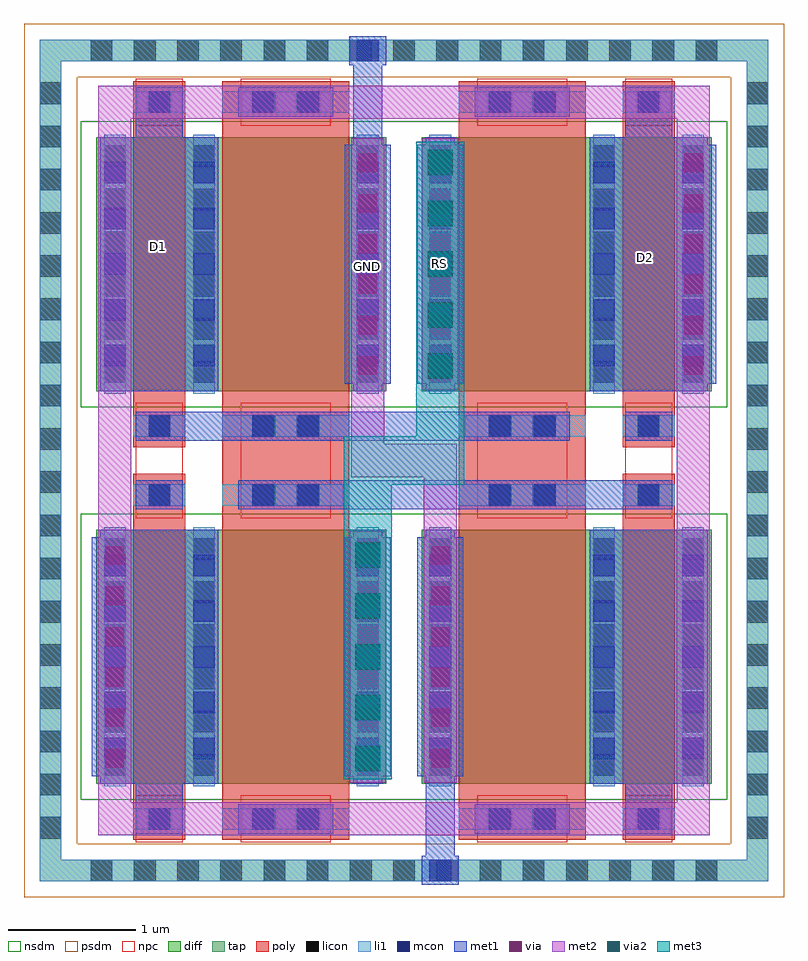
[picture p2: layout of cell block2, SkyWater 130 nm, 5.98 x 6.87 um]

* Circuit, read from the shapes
.subckt block2 D1 D2 GND RS
XM1 D2 D2 D2 GND sky130_fd_pr__nfet_01v8 w=2 l=0.41 m=2
XM2 D1 D1 D1 GND sky130_fd_pr__nfet_01v8 w=2 l=0.41 m=2
XM3 RS D1 D2 GND sky130_fd_pr__nfet_01v8 w=2 l=1 m=2
XM4 GND D1 D1 GND sky130_fd_pr__nfet_01v8 w=2 l=1 m=2
.ends

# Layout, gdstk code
import gdstk
lib = gdstk.Library(unit=1e-6, precision=1e-09)
def R(c, l, rs):  # rectangles x0, y0, x1, y1
    for r in rs: c.add(gdstk.rectangle(r[:2], r[2:], *l))
def A(c, l, x, y, w, h, nx, ny, dx, dy):  # array of equal rectangles
    R(c, l, [(x+i*dx, y+j*dy, x+i*dx+w, y+j*dy+h) for i in range(nx) for j in range(ny)])
diff = (65, 20)
tap = (65, 44)
poly = (66, 20)
licon = (66, 44)
li1 = (67, 20)
mcon = (67, 44)
met1 = (68, 20)
via = (68, 44)
met2 = (69, 20)
via2 = (69, 44)
met3 = (70, 20)
nsdm = (93, 44)
psdm = (94, 20)
npc = (95, 20)

sky130_fd_pr__nfet_01v8_ = lib.new_cell('sky130_fd_pr__nfet_01v8_MU6LND')
R(sky130_fd_pr__nfet_01v8_, diff, [(-0.495,-2.545,0.495,-0.545), (-0.495,0.545,0.495,2.545)])
R(sky130_fd_pr__nfet_01v8_, poly, [(-0.205,-2.985,0.205,-0.105), (-0.205,0.105,0.205,2.985)])
A(sky130_fd_pr__nfet_01v8_, licon, -0.435, -2.48, 0.17, 0.17, 1, 6, 0, 0.34)
A(sky130_fd_pr__nfet_01v8_, licon, 0.265, -2.48, 0.17, 0.17, 1, 6, 0, 0.34)
A(sky130_fd_pr__nfet_01v8_, licon, -0.435, 0.61, 0.17, 0.17, 1, 6, 0, 0.34)
A(sky130_fd_pr__nfet_01v8_, licon, 0.265, 0.61, 0.17, 0.17, 1, 6, 0, 0.34)
R(sky130_fd_pr__nfet_01v8_, licon, [(-0.085,-2.905,0.085,-2.735), (-0.085,-0.355,0.085,-0.185), (-0.085,0.185,0.085,0.355), (-0.085,2.735,0.085,2.905)])
R(sky130_fd_pr__nfet_01v8_, li1, [(-0.205,-2.905,0.205,-2.735), (-0.435,-2.565,-0.265,-0.525), (0.265,-2.565,0.435,-0.525), (-0.205,-0.355,0.205,-0.185), (-0.205,0.185,0.205,0.355), (-0.435,0.525,-0.265,2.565), (0.265,0.525,0.435,2.565), (-0.205,2.735,0.205,2.905)])
A(sky130_fd_pr__nfet_01v8_, mcon, -0.435, -2.35, 0.17, 0.17, 1, 5, 0, 0.36)
A(sky130_fd_pr__nfet_01v8_, mcon, 0.265, -2.35, 0.17, 0.17, 1, 5, 0, 0.36)
A(sky130_fd_pr__nfet_01v8_, mcon, -0.435, 0.74, 0.17, 0.17, 1, 5, 0, 0.36)
A(sky130_fd_pr__nfet_01v8_, mcon, 0.265, 0.74, 0.17, 0.17, 1, 5, 0, 0.36)
R(sky130_fd_pr__nfet_01v8_, mcon, [(-0.085,-2.905,0.085,-2.735), (-0.085,-0.355,0.085,-0.185), (-0.085,0.185,0.085,0.355), (-0.085,2.735,0.085,2.905)])
R(sky130_fd_pr__nfet_01v8_, met1, [(-0.185,-2.935,0.185,-2.705), (-0.465,-2.545,-0.235,-0.545), (0.235,-2.545,0.465,-0.545), (-0.185,-0.385,0.185,-0.155), (-0.185,0.155,0.185,0.385), (-0.465,0.545,-0.235,2.545), (0.235,0.545,0.465,2.545), (-0.185,2.705,0.185,2.935)])
R(sky130_fd_pr__nfet_01v8_, nsdm, [(-0.62,-2.67,0.62,-0.42), (-0.62,0.42,0.62,2.67)])
R(sky130_fd_pr__nfet_01v8_, npc, [(-0.185,-3.005,0.185,-2.635), (-0.185,-0.455,0.185,0.455), (-0.185,2.635,0.185,3.005)])

c_sky130_fd_pr__nfet_01v8_ = lib.new_cell('sky130_fd_pr__nfet_01v8_46AL6M')
R(c_sky130_fd_pr__nfet_01v8_, diff, [(-1.72,-2.545,-0.14,-0.545), (0.14,-2.545,1.72,-0.545), (-1.72,0.545,-0.14,2.545), (0.14,0.545,1.72,2.545)])
R(c_sky130_fd_pr__nfet_01v8_, poly, [(-1.43,-2.985,-0.43,-0.105), (0.43,-2.985,1.43,-0.105), (-1.43,0.105,-0.43,2.985), (0.43,0.105,1.43,2.985)])
A(c_sky130_fd_pr__nfet_01v8_, licon, -1.66, -2.48, 0.17, 0.17, 1, 6, 0, 0.34)
A(c_sky130_fd_pr__nfet_01v8_, licon, -0.37, -2.48, 0.17, 0.17, 1, 6, 0, 0.34)
A(c_sky130_fd_pr__nfet_01v8_, licon, 0.2, -2.48, 0.17, 0.17, 1, 6, 0, 0.34)
A(c_sky130_fd_pr__nfet_01v8_, licon, 1.49, -2.48, 0.17, 0.17, 1, 6, 0, 0.34)
A(c_sky130_fd_pr__nfet_01v8_, licon, -1.66, 0.61, 0.17, 0.17, 1, 6, 0, 0.34)
A(c_sky130_fd_pr__nfet_01v8_, licon, -0.37, 0.61, 0.17, 0.17, 1, 6, 0, 0.34)
A(c_sky130_fd_pr__nfet_01v8_, licon, 0.2, 0.61, 0.17, 0.17, 1, 6, 0, 0.34)
A(c_sky130_fd_pr__nfet_01v8_, licon, 1.49, 0.61, 0.17, 0.17, 1, 6, 0, 0.34)
R(c_sky130_fd_pr__nfet_01v8_, licon, [(-1.185,-2.905,-1.015,-2.735), (-0.845,-2.905,-0.675,-2.735), (0.675,-2.905,0.845,-2.735), (1.015,-2.905,1.185,-2.735), (-1.185,-0.355,-1.015,-0.185), (-0.845,-0.355,-0.675,-0.185), (0.675,-0.355,0.845,-0.185), (1.015,-0.355,1.185,-0.185), (-1.185,0.185,-1.015,0.355), (-0.845,0.185,-0.675,0.355), (0.675,0.185,0.845,0.355), (1.015,0.185,1.185,0.355), (-1.185,2.735,-1.015,2.905), (-0.845,2.735,-0.675,2.905), (0.675,2.735,0.845,2.905), (1.015,2.735,1.185,2.905)])
R(c_sky130_fd_pr__nfet_01v8_, li1, [(-1.43,-2.905,-0.43,-2.735), (0.43,-2.905,1.43,-2.735), (-1.66,-2.565,-1.49,-0.525), (-0.37,-2.565,-0.2,-0.525), (0.2,-2.565,0.37,-0.525), (1.49,-2.565,1.66,-0.525), (-1.43,-0.355,-0.43,-0.185), (0.43,-0.355,1.43,-0.185), (-1.43,0.185,-0.43,0.355), (0.43,0.185,1.43,0.355), (-1.66,0.525,-1.49,2.565), (-0.37,0.525,-0.2,2.565), (0.2,0.525,0.37,2.565), (1.49,0.525,1.66,2.565), (-1.43,2.735,-0.43,2.905), (0.43,2.735,1.43,2.905)])
A(c_sky130_fd_pr__nfet_01v8_, mcon, -1.66, -2.35, 0.17, 0.17, 1, 5, 0, 0.36)
A(c_sky130_fd_pr__nfet_01v8_, mcon, -0.37, -2.35, 0.17, 0.17, 1, 5, 0, 0.36)
A(c_sky130_fd_pr__nfet_01v8_, mcon, 0.2, -2.35, 0.17, 0.17, 1, 5, 0, 0.36)
A(c_sky130_fd_pr__nfet_01v8_, mcon, 1.49, -2.35, 0.17, 0.17, 1, 5, 0, 0.36)
A(c_sky130_fd_pr__nfet_01v8_, mcon, -1.66, 0.74, 0.17, 0.17, 1, 5, 0, 0.36)
A(c_sky130_fd_pr__nfet_01v8_, mcon, -0.37, 0.74, 0.17, 0.17, 1, 5, 0, 0.36)
A(c_sky130_fd_pr__nfet_01v8_, mcon, 0.2, 0.74, 0.17, 0.17, 1, 5, 0, 0.36)
A(c_sky130_fd_pr__nfet_01v8_, mcon, 1.49, 0.74, 0.17, 0.17, 1, 5, 0, 0.36)
R(c_sky130_fd_pr__nfet_01v8_, mcon, [(-1.195,-2.905,-1.025,-2.735), (-0.835,-2.905,-0.665,-2.735), (0.665,-2.905,0.835,-2.735), (1.025,-2.905,1.195,-2.735), (-1.195,-0.355,-1.025,-0.185), (-0.835,-0.355,-0.665,-0.185), (0.665,-0.355,0.835,-0.185), (1.025,-0.355,1.195,-0.185), (-1.195,0.185,-1.025,0.355), (-0.835,0.185,-0.665,0.355), (0.665,0.185,0.835,0.355), (1.025,0.185,1.195,0.355), (-1.195,2.735,-1.025,2.905), (-0.835,2.735,-0.665,2.905), (0.665,2.735,0.835,2.905), (1.025,2.735,1.195,2.905)])
R(c_sky130_fd_pr__nfet_01v8_, met1, [(-1.305,-2.935,-0.555,-2.705), (0.555,-2.935,1.305,-2.705), (-1.69,-2.545,-1.46,-0.545), (-0.4,-2.545,-0.17,-0.545), (0.17,-2.545,0.4,-0.545), (1.46,-2.545,1.69,-0.545), (-1.305,-0.385,-0.555,-0.155), (0.555,-0.385,1.305,-0.155), (-1.305,0.155,-0.555,0.385), (0.555,0.155,1.305,0.385), (-1.69,0.545,-1.46,2.545), (-0.4,0.545,-0.17,2.545), (0.17,0.545,0.4,2.545), (1.46,0.545,1.69,2.545), (-1.305,2.705,-0.555,2.935), (0.555,2.705,1.305,2.935)])
R(c_sky130_fd_pr__nfet_01v8_, nsdm, [(-1.845,-2.67,1.845,-0.42), (-1.845,0.42,1.845,2.67)])
R(c_sky130_fd_pr__nfet_01v8_, npc, [(-1.285,-3.005,-0.575,-2.635), (0.575,-3.005,1.285,-2.635), (-1.285,-0.455,-0.575,0.455), (0.575,-0.455,1.285,0.455), (-1.285,2.635,-0.575,3.005), (0.575,2.635,1.285,3.005)])

block2 = lib.new_cell('block2')
R(block2, tap, [(-1.145,-0.325,4.585,-0.155), (-1.145,-0.155,-0.975,6.125), (4.415,-0.155,4.585,6.125), (-1.145,6.125,4.585,6.295)])
R(block2, poly, [(0.29,0,1.29,5.97), (2.15,0,3.15,5.97)])
A(block2, licon, -0.745, -0.325, 0.17, 0.17, 15, 2, 0.34, 6.45)
A(block2, licon, -1.145, 0.01, 0.17, 0.17, 1, 18, 0, 0.34)
A(block2, licon, 4.415, 0.01, 0.17, 0.17, 1, 18, 0, 0.34)
R(block2, li1, [(-1.145,-0.325,4.585,-0.155), (-1.145,-0.155,-0.975,6.125), (4.415,-0.155,4.585,6.125), (-1.145,6.125,4.585,6.295)])
R(block2, mcon, [(1.92,-0.325,2.09,-0.155), (1.35,6.125,1.52,6.295)])
R(block2, met1, [(1.86,-0.355,2.15,-0.125), (1.89,-0.125,2.12,0.44), (-0.39,0.05,-0.02,0.44), (3.46,0.05,3.83,0.44), (-0.67,0.44,0.26,0.5), (3.18,0.44,4.11,2.44), (-0.735,0.5,0.26,2.38), (1.255,0.5,1.615,2.38), (1.825,0.5,2.185,2.38), (-0.67,2.38,0.26,2.44), (0.415,2.6,3.83,2.83), (-0.39,3.14,3.025,3.37), (-0.67,3.53,0.26,5.53), (3.18,3.53,4.11,3.59), (1.255,3.59,1.615,5.47), (1.825,3.59,2.185,5.47), (3.18,3.59,4.175,5.47), (3.18,5.47,4.11,5.53), (-0.39,5.53,-0.02,5.92), (1.32,5.53,1.55,6.095), (3.46,5.53,3.83,5.92), (1.29,6.095,1.58,6.325)])
A(block2, via, -0.63, 0.565, 0.15, 0.15, 1, 6, 0, 0.32)
A(block2, via, 1.36, 0.565, 0.15, 0.15, 1, 6, 0, 0.32)
A(block2, via, 1.93, 0.565, 0.15, 0.15, 1, 6, 0, 0.32)
A(block2, via, 1.36, 3.655, 0.15, 0.15, 1, 6, 0, 0.32)
A(block2, via, 1.93, 3.655, 0.15, 0.15, 1, 6, 0, 0.32)
A(block2, via, 3.92, 3.655, 0.15, 0.15, 1, 6, 0, 0.32)
R(block2, met2, [(-0.685,0.035,4.125,0.295), (-0.685,0.295,-0.425,5.675), (3.865,0.295,4.125,5.675), (1.295,0.45,1.575,2.43), (1.875,0.45,2.135,2.855), (1.305,2.855,2.135,3.115), (1.305,3.115,1.565,5.52), (1.865,3.54,2.145,5.52), (-0.685,5.675,4.125,5.935)])
A(block2, via2, 1.335, 0.54, 0.2, 0.2, 1, 5, 0, 0.4)
A(block2, via2, 1.905, 3.63, 0.2, 0.2, 1, 5, 0, 0.4)
R(block2, met3, [(1.245,0.475,1.625,2.795), (1.245,2.795,2.195,3.175), (1.815,3.175,2.195,5.495)])
R(block2, psdm, [(-1.27,-0.45,4.71,-0.03), (-1.27,-0.03,-0.85,6), (4.29,-0.03,4.71,6), (-1.27,6,4.71,6.42)])
block2.add(gdstk.Reference(sky130_fd_pr__nfet_01v8_, (3.645,2.985)))
block2.add(gdstk.Reference(sky130_fd_pr__nfet_01v8_, (-0.205,2.985)))
block2.add(gdstk.Reference(c_sky130_fd_pr__nfet_01v8_, (1.72,2.985)))
block2.add(gdstk.Label('GND', (1.43,4.51), layer=69, texttype=5))
block2.add(gdstk.Label('D1', (-0.21,4.665), layer=68, texttype=5))
block2.add(gdstk.Label('D2', (3.62,4.58), layer=68, texttype=5))
block2.add(gdstk.Label('RS', (2,4.535), layer=69, texttype=5))

lib.write_gds('block2.gds')
